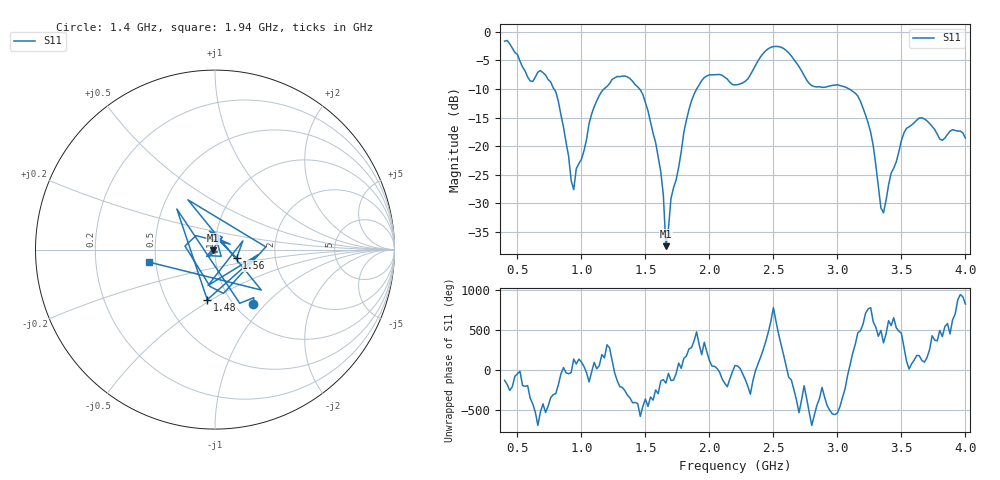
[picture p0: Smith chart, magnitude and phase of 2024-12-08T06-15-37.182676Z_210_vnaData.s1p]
!Created with skrf (http://scikit-rf.org).
# Hz S RI R 50.0
!freq ReS11 ImS11
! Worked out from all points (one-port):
!   181 points, 400 MHz to 4 GHz, reference 50 ohm
!   lowest |S11| = -37.5 dB at 1.66 GHz (marker M1), VSWR 1.03, Z = 48.7 - j0.283 ohm
!   |S11| at or under -10 dB: 784.9 MHz to 1.177 GHz (392.2 MHz wide, 40 % of centre); 1.454 GHz to 1.9 GHz (446.5 MHz wide, 26.6 % of centre); 3.09 GHz to end of sweep
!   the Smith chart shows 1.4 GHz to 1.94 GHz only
!   S11 on the Smith chart (normalised r, x): 1.4 GHz: 1.21, -0.85; 1.48 GHz: 0.79, -0.48; 1.56 GHz: 1.27, -0.12; 1.94 GHz: 0.46, -0.07
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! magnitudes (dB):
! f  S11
! 400 MHz  -1.7
! 600 MHz  -8.6
! 760 MHz  -8.8
! 860 MHz  -16.7
! 940 MHz  -27.6
! 1.1 GHz  -13.1
! 1.3 GHz  -7.9
! 1.4 GHz  -8.7
! 1.48 GHz  -11.0
! 1.56 GHz  -17.8
! 1.62 GHz  -24.5
! 1.64 GHz  -28.5
! 1.66 GHz  -37.5
! 1.7 GHz  -29.1
! 1.76 GHz  -23.7
! 1.84 GHz  -13.7
! 1.94 GHz  -8.5
! 2.2 GHz  -9.3
! 2.48 GHz  -2.7
! 2.66 GHz  -4.8
! 2.8 GHz  -9.4
! 3.1 GHz  -10.1
! 3.24 GHz  -15.9
! 3.36 GHz  -31.7
! 3.42 GHz  -24.7
! 3.56 GHz  -16.6
! 3.66 GHz  -15.0
! 4 GHz  -18.6
